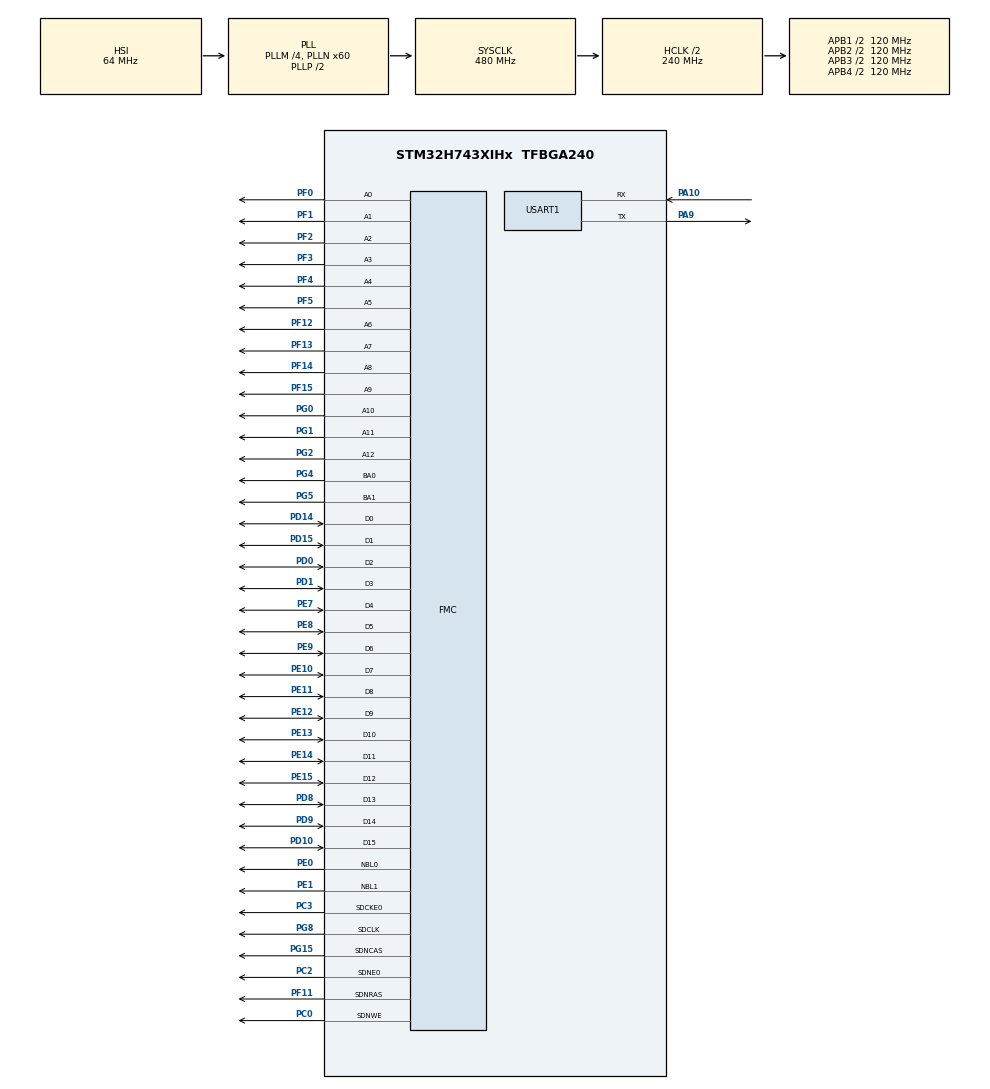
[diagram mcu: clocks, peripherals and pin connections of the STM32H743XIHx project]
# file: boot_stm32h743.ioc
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CORTEX_M7.default_mode_Activation=1
FMC.CASLatency1=FMC_SDRAM_CAS_LATENCY_3
FMC.ColumnBitsNumber1=FMC_SDRAM_COLUMN_BITS_NUM_9
FMC.ExitSelfRefreshDelay1=7
FMC.LoadToActiveDelay1=2
FMC.RCDDelay1=2
FMC.RPDelay1=2
FMC.RPDelay2=2
FMC.ReadBurst1=FMC_SDRAM_RBURST_ENABLE
FMC.ReadBurst2=FMC_SDRAM_RBURST_ENABLE
FMC.ReadPipeDelay1=FMC_SDRAM_RPIPE_DELAY_1
FMC.ReadPipeDelay2=FMC_SDRAM_RPIPE_DELAY_1
FMC.RowCycleDelay1=6
FMC.RowCycleDelay2=6
FMC.SDClockPeriod1=FMC_SDRAM_CLOCK_PERIOD_2
FMC.SDClockPeriod2=FMC_SDRAM_CLOCK_PERIOD_2
FMC.SelfRefreshTime1=4
FMC.WriteRecoveryTime1=3
Mcu.Family=STM32H7
Mcu.Name=STM32H743XIHx
Mcu.Package=TFBGA240
NVIC.PriorityGroup=NVIC_PRIORITYGROUP_4
PA10.Mode=Asynchronous
PA10.Signal=USART1_RX
PA9.Mode=Asynchronous
PA9.Signal=USART1_TX
PC0.Signal=FMC_SDNWE
PC2.Mode=SdramChipSelect1_1
PC2.Signal=FMC_SDNE0
PC3.Mode=SdramChipSelect1_1
PC3.Signal=FMC_SDCKE0
PD0.Signal=FMC_D2_DA2
PD1.Signal=FMC_D3_DA3
PD10.Signal=FMC_D15_DA15
PD14.Signal=FMC_D0_DA0
PD15.Signal=FMC_D1_DA1
PD8.Signal=FMC_D13_DA13
PD9.Signal=FMC_D14_DA14
PE0.Signal=FMC_NBL0
PE1.Signal=FMC_NBL1
PE10.Signal=FMC_D7_DA7
PE11.Signal=FMC_D8_DA8
PE12.Signal=FMC_D9_DA9
PE13.Signal=FMC_D10_DA10
PE14.Signal=FMC_D11_DA11
PE15.Signal=FMC_D12_DA12
PE7.Signal=FMC_D4_DA4
PE8.Signal=FMC_D5_DA5
PE9.Signal=FMC_D6_DA6
PF0.Signal=FMC_A0
PF1.Signal=FMC_A1
PF11.Signal=FMC_SDNRAS
PF12.Signal=FMC_A6
PF13.Signal=FMC_A7
PF14.Signal=FMC_A8
PF15.Signal=FMC_A9
PF2.Signal=FMC_A2
PF3.Signal=FMC_A3
PF4.Signal=FMC_A4
PF5.Signal=FMC_A5
PG0.Signal=FMC_A10
PG1.Signal=FMC_A11
PG15.Signal=FMC_SDNCAS
PG2.Signal=FMC_A12
PG4.Signal=FMC_A14_BA0
PG5.Signal=FMC_A15_BA1
PG8.Signal=FMC_SDCLK
ProjectManager.HeapSize=0x200
ProjectManager.StackSize=0x400
ProjectManager.TargetToolchain=Makefile
RCC.ADCFreq_Value=80000000
RCC.APB1Freq_Value=120000000
RCC.APB2Freq_Value=120000000
RCC.APB3Freq_Value=120000000
RCC.APB4Freq_Value=120000000
RCC.CortexFreq_Value=480000000
RCC.D1PPRE=RCC_APB3_DIV2
RCC.D2PPRE1=RCC_APB1_DIV2
RCC.D2PPRE2=RCC_APB2_DIV2
RCC.D3PPRE=RCC_APB4_DIV2
RCC.DIVM1=4
RCC.DIVM2=4
RCC.DIVN1=60
RCC.DIVN2=10
RCC.DIVR2=1
RCC.HCLKFreq_Value=240000000
RCC.HPRE=RCC_HCLK_DIV2
RCC.PLL2FRACN=0
RCC.PLL3FRACN=0
RCC.PLLFRACN=0
RCC.SYSCLKFreq_VALUE=480000000
RCC.SYSCLKSource=RCC_SYSCLKSOURCE_PLLCLK
RCC.USBFreq_Value=480000000
SH.FMC_A0.0=FMC_A0,13b-sda1
SH.FMC_A1.0=FMC_A1,13b-sda1
SH.FMC_A10.0=FMC_A10,13b-sda1
SH.FMC_A11.0=FMC_A11,13b-sda1
SH.FMC_A12.0=FMC_A12,13b-sda1
SH.FMC_A14_BA0.0=FMC_BA0,FourSdramBanks1
SH.FMC_A15_BA1.0=FMC_BA1,FourSdramBanks1
SH.FMC_A2.0=FMC_A2,13b-sda1
SH.FMC_A3.0=FMC_A3,13b-sda1
SH.FMC_A4.0=FMC_A4,13b-sda1
SH.FMC_A5.0=FMC_A5,13b-sda1
SH.FMC_A6.0=FMC_A6,13b-sda1
SH.FMC_A7.0=FMC_A7,13b-sda1
SH.FMC_A8.0=FMC_A8,13b-sda1
SH.FMC_A9.0=FMC_A9,13b-sda1
SH.FMC_D0_DA0.0=FMC_D0,sd-16b-d1
SH.FMC_D10_DA10.0=FMC_D10,sd-16b-d1
SH.FMC_D11_DA11.0=FMC_D11,sd-16b-d1
SH.FMC_D12_DA12.0=FMC_D12,sd-16b-d1
SH.FMC_D13_DA13.0=FMC_D13,sd-16b-d1
SH.FMC_D14_DA14.0=FMC_D14,sd-16b-d1
SH.FMC_D15_DA15.0=FMC_D15,sd-16b-d1
SH.FMC_D1_DA1.0=FMC_D1,sd-16b-d1
SH.FMC_D2_DA2.0=FMC_D2,sd-16b-d1
SH.FMC_D3_DA3.0=FMC_D3,sd-16b-d1
SH.FMC_D4_DA4.0=FMC_D4,sd-16b-d1
SH.FMC_D5_DA5.0=FMC_D5,sd-16b-d1
SH.FMC_D6_DA6.0=FMC_D6,sd-16b-d1
SH.FMC_D7_DA7.0=FMC_D7,sd-16b-d1
SH.FMC_D8_DA8.0=FMC_D8,sd-16b-d1
SH.FMC_D9_DA9.0=FMC_D9,sd-16b-d1
SH.FMC_NBL0.0=FMC_NBL0,Sd2ByteEnable1
SH.FMC_NBL1.0=FMC_NBL1,Sd2ByteEnable1
SH.FMC_SDCLK.0=FMC_SDCLK,13b-sda1
SH.FMC_SDNCAS.0=FMC_SDNCAS,13b-sda1
SH.FMC_SDNRAS.0=FMC_SDNRAS,13b-sda1
SH.FMC_SDNWE.0=FMC_SDNWE,13b-sda1
USART1.VirtualMode-Asynchronous=VM_ASYNC
VP_MEMORYMAP_VS_MEMORYMAP.Mode=CurAppReg
board=custom

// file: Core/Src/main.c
/* USER CODE BEGIN Header */
/**
  ******************************************************************************
  * @file           : main.c
  * @brief          : Main program body
  ******************************************************************************
  * @attention
  *
  * Copyright (c) 2025 STMicroelectronics.
  * All rights reserved.
  *
  * This software is licensed under terms that can be found in the LICENSE file
  * in the root directory of this software component.
  * If no LICENSE file comes with this software, it is provided AS-IS.
  *
  ******************************************************************************
  */
/* USER CODE END Header */
#include "main.h"

UART_HandleTypeDef huart1;

SDRAM_HandleTypeDef hsdram1;

void SystemClock_Config(void);
static void MPU_Config(void);
static void MX_GPIO_Init(void);
static void MX_USART1_UART_Init(void);
static void MX_FMC_Init(void);

/* USER CODE BEGIN 0 */

#include <stdio.h>
#include <stdint.h>
int __io_putchar(int ch){
  HAL_UART_Transmit(&huart1, (uint8_t *)&ch, 1, 0xFFFF);
  return ch;
}
void _send_byte(char byte){
  HAL_UART_Transmit(&huart1, (uint8_t *)&byte, 1, 0xFFFF);
}
void load_kernel();

#define SDRAM_Size 32*1024*1024
FMC_SDRAM_CommandTypeDef command;
void SDRAM_Initialization_Sequence(SDRAM_HandleTypeDef *hsdram, FMC_SDRAM_CommandTypeDef *Command);

static void HAL_FMC_MspInit(void)
{
  GPIO_InitTypeDef GPIO_InitStruct ={0};
  /* Peripheral clock enable */
  __HAL_RCC_FMC_CLK_ENABLE();

  /* GPIO Ports Clock Enable */
  __HAL_RCC_GPIOC_CLK_ENABLE();
  __HAL_RCC_GPIOD_CLK_ENABLE();
  __HAL_RCC_GPIOE_CLK_ENABLE();
  __HAL_RCC_GPIOF_CLK_ENABLE();
  __HAL_RCC_GPIOG_CLK_ENABLE();
  __HAL_RCC_GPIOH_CLK_ENABLE();

  /** FMC GPIO Configuration
  PF0   ------> FMC_A0			PD14   ------> FMC_D0			PC0    ------> FMC_SDNWE
  PF1   ------> FMC_A1        PD15   ------> FMC_D1         PG15   ------> FMC_SDNCAS
  PF2   ------> FMC_A2        PD0    ------> FMC_D2         PF11   ------> FMC_SDNRAS
  PF3   ------> FMC_A3        PD1    ------> FMC_D3         PH3    ------> FMC_SDNE0
  PF4   ------> FMC_A4        PE7    ------> FMC_D4         PG4    ------> FMC_BA0
  PF5   ------> FMC_A5        PE8    ------> FMC_D5         PG5    ------> FMC_BA1
  PF12  ------> FMC_A6       	PE9    ------> FMC_D6         PH2    ------> FMC_SDCKE0
  PF13  ------> FMC_A7       	PE10   ------> FMC_D7         PG8    ------> FMC_SDCLK
  PF14  ------> FMC_A8       	PE11   ------> FMC_D8         PE1    ------> FMC_NBL1
  PF15  ------> FMC_A9       	PE12   ------> FMC_D9         PE0    ------> FMC_NBL0
  PG0   ------> FMC_A10       PE13   ------> FMC_D10
  PG1   ------> FMC_A11       PE14   ------> FMC_D11
  PG2   ------> FMC_A12       PE15   ------> FMC_D12
                              PD8    ------> FMC_D13
                              PD9    ------> FMC_D14
                              PD10   ------> FMC_D15

  */
  GPIO_InitStruct.Pin = GPIO_PIN_0|GPIO_PIN_1|GPIO_PIN_2|GPIO_PIN_3
                          |GPIO_PIN_4|GPIO_PIN_5|GPIO_PIN_11|GPIO_PIN_12
                          |GPIO_PIN_13|GPIO_PIN_14|GPIO_PIN_15;
  GPIO_InitStruct.Mode = GPIO_MODE_AF_PP;
  GPIO_InitStruct.Pull = GPIO_NOPULL;
  GPIO_InitStruct.Speed = GPIO_SPEED_FREQ_VERY_HIGH;
  GPIO_InitStruct.Alternate = GPIO_AF12_FMC;
  HAL_GPIO_Init(GPIOF, &GPIO_InitStruct);

  GPIO_InitStruct.Pin = GPIO_PIN_2|GPIO_PIN_3;
  GPIO_InitStruct.Mode = GPIO_MODE_AF_PP;
  GPIO_InitStruct.Pull = GPIO_NOPULL;
  GPIO_InitStruct.Speed = GPIO_SPEED_FREQ_VERY_HIGH;
  GPIO_InitStruct.Alternate = GPIO_AF12_FMC;
  HAL_GPIO_Init(GPIOH, &GPIO_InitStruct);

  GPIO_InitStruct.Pin = GPIO_PIN_0|GPIO_PIN_1|GPIO_PIN_2|GPIO_PIN_4
                          |GPIO_PIN_5|GPIO_PIN_8|GPIO_PIN_15;
  GPIO_InitStruct.Mode = GPIO_MODE_AF_PP;
  GPIO_InitStruct.Pull = GPIO_NOPULL;
  GPIO_InitStruct.Speed = GPIO_SPEED_FREQ_VERY_HIGH;
  GPIO_InitStruct.Alternate = GPIO_AF12_FMC;
  HAL_GPIO_Init(GPIOG, &GPIO_InitStruct);

  GPIO_InitStruct.Pin = GPIO_PIN_7|GPIO_PIN_8|GPIO_PIN_9|GPIO_PIN_10
                          |GPIO_PIN_11|GPIO_PIN_12|GPIO_PIN_13|GPIO_PIN_14
                          |GPIO_PIN_15|GPIO_PIN_0|GPIO_PIN_1;
  GPIO_InitStruct.Mode = GPIO_MODE_AF_PP;
  GPIO_InitStruct.Pull = GPIO_NOPULL;
  GPIO_InitStruct.Speed = GPIO_SPEED_FREQ_VERY_HIGH;
  GPIO_InitStruct.Alternate = GPIO_AF12_FMC;
  HAL_GPIO_Init(GPIOE, &GPIO_InitStruct);

  GPIO_InitStruct.Pin = GPIO_PIN_8|GPIO_PIN_9|GPIO_PIN_10|GPIO_PIN_14
                          |GPIO_PIN_15|GPIO_PIN_0|GPIO_PIN_1;
  GPIO_InitStruct.Mode = GPIO_MODE_AF_PP;
  GPIO_InitStruct.Pull = GPIO_NOPULL;
  GPIO_InitStruct.Speed = GPIO_SPEED_FREQ_VERY_HIGH;
  GPIO_InitStruct.Alternate = GPIO_AF12_FMC;
  HAL_GPIO_Init(GPIOD, &GPIO_InitStruct);

  GPIO_InitStruct.Pin =  GPIO_PIN_0;
  GPIO_InitStruct.Mode = GPIO_MODE_AF_PP;
  GPIO_InitStruct.Pull = GPIO_NOPULL;
  GPIO_InitStruct.Speed = GPIO_SPEED_FREQ_VERY_HIGH;
  GPIO_InitStruct.Alternate = GPIO_AF12_FMC;
  HAL_GPIO_Init(GPIOC, &GPIO_InitStruct);
}

/* USER CODE END 0 */

int main(void)
{

  /* MPU Configuration--------------------------------------------------------*/
  //MPU_Config();

  /* MCU Configuration--------------------------------------------------------*/

  /* Reset of all peripherals, Initializes the Flash interface and the Systick. */
  HAL_Init();

  /* USER CODE BEGIN Init */
  SCB_EnableICache();
  SCB_EnableDCache();
  /* USER CODE END Init */

  /* Configure the system clock */
  SystemClock_Config();

  /* USER CODE BEGIN SysInit */
  HAL_FMC_MspInit();
  /* USER CODE END SysInit */

  /* Initialize all configured peripherals */
  MX_GPIO_Init();
  MX_USART1_UART_Init();
  MX_FMC_Init();
  /* USER CODE BEGIN 2 */
  load_kernel();
  /* USER CODE END 2 */

  /* Infinite loop */
  while (1)
  {

  }
}

void SystemClock_Config(void)
{
  RCC_OscInitTypeDef RCC_OscInitStruct = {0};
  RCC_ClkInitTypeDef RCC_ClkInitStruct = {0};

  /** Supply configuration update enable
  */
  HAL_PWREx_ConfigSupply(PWR_LDO_SUPPLY);

  /** Configure the main internal regulator output voltage
  */
  __HAL_PWR_VOLTAGESCALING_CONFIG(PWR_REGULATOR_VOLTAGE_SCALE0);

  while(!__HAL_PWR_GET_FLAG(PWR_FLAG_VOSRDY)) {}

  /** Initializes the RCC Oscillators according to the specified parameters
  * in the RCC_OscInitTypeDef structure.
  */
  RCC_OscInitStruct.OscillatorType = RCC_OSCILLATORTYPE_HSI;
  RCC_OscInitStruct.HSIState = RCC_HSI_DIV1;
  RCC_OscInitStruct.HSICalibrationValue = RCC_HSICALIBRATION_DEFAULT;
  RCC_OscInitStruct.PLL.PLLState = RCC_PLL_ON;
  RCC_OscInitStruct.PLL.PLLSource = RCC_PLLSOURCE_HSI;
  RCC_OscInitStruct.PLL.PLLM = 4;
  RCC_OscInitStruct.PLL.PLLN = 60;
  RCC_OscInitStruct.PLL.PLLP = 2;
  RCC_OscInitStruct.PLL.PLLQ = 2;
  RCC_OscInitStruct.PLL.PLLR = 2;
  RCC_OscInitStruct.PLL.PLLRGE = RCC_PLL1VCIRANGE_3;
  RCC_OscInitStruct.PLL.PLLVCOSEL = RCC_PLL1VCOWIDE;
  RCC_OscInitStruct.PLL.PLLFRACN = 0;
  if (HAL_RCC_OscConfig(&RCC_OscInitStruct) != HAL_OK)
  {
    Error_Handler();
  }

  /** Initializes the CPU, AHB and APB buses clocks
  */
  RCC_ClkInitStruct.ClockType = RCC_CLOCKTYPE_HCLK|RCC_CLOCKTYPE_SYSCLK
                              |RCC_CLOCKTYPE_PCLK1|RCC_CLOCKTYPE_PCLK2
                              |RCC_CLOCKTYPE_D3PCLK1|RCC_CLOCKTYPE_D1PCLK1;
  RCC_ClkInitStruct.SYSCLKSource = RCC_SYSCLKSOURCE_PLLCLK;
  RCC_ClkInitStruct.SYSCLKDivider = RCC_SYSCLK_DIV1;
  RCC_ClkInitStruct.AHBCLKDivider = RCC_HCLK_DIV2;
  RCC_ClkInitStruct.APB3CLKDivider = RCC_APB3_DIV2;
  RCC_ClkInitStruct.APB1CLKDivider = RCC_APB1_DIV2;
  RCC_ClkInitStruct.APB2CLKDivider = RCC_APB2_DIV2;
  RCC_ClkInitStruct.APB4CLKDivider = RCC_APB4_DIV2;

  if (HAL_RCC_ClockConfig(&RCC_ClkInitStruct, FLASH_LATENCY_4) != HAL_OK)
  {
    Error_Handler();
  }
}

static void MX_USART1_UART_Init(void)
{

  huart1.Instance = USART1;
  huart1.Init.BaudRate = 115200;
  huart1.Init.WordLength = UART_WORDLENGTH_8B;
  huart1.Init.StopBits = UART_STOPBITS_1;
  huart1.Init.Parity = UART_PARITY_NONE;
  huart1.Init.Mode = UART_MODE_TX_RX;
  huart1.Init.HwFlowCtl = UART_HWCONTROL_NONE;
  huart1.Init.OverSampling = UART_OVERSAMPLING_16;
  huart1.Init.OneBitSampling = UART_ONE_BIT_SAMPLE_DISABLE;
  huart1.Init.ClockPrescaler = UART_PRESCALER_DIV1;
  huart1.AdvancedInit.AdvFeatureInit = UART_ADVFEATURE_NO_INIT;
  if (HAL_UART_Init(&huart1) != HAL_OK)
  {
    Error_Handler();
  }
  if (HAL_UARTEx_SetTxFifoThreshold(&huart1, UART_TXFIFO_THRESHOLD_1_8) != HAL_OK)
  {
    Error_Handler();
  }
  if (HAL_UARTEx_SetRxFifoThreshold(&huart1, UART_RXFIFO_THRESHOLD_1_8) != HAL_OK)
  {
    Error_Handler();
  }
  if (HAL_UARTEx_DisableFifoMode(&huart1) != HAL_OK)
  {
    Error_Handler();
  }

}

/* FMC initialization function */
static void MX_FMC_Init(void)
{

  FMC_SDRAM_TimingTypeDef SdramTiming = {0};

  /** Perform the SDRAM1 memory initialization sequence
  */
  hsdram1.Instance = FMC_SDRAM_DEVICE;
  /* hsdram1.Init */
  hsdram1.Init.SDBank = FMC_SDRAM_BANK1;
  hsdram1.Init.ColumnBitsNumber = FMC_SDRAM_COLUMN_BITS_NUM_9;
  hsdram1.Init.RowBitsNumber = FMC_SDRAM_ROW_BITS_NUM_13;
  hsdram1.Init.MemoryDataWidth = FMC_SDRAM_MEM_BUS_WIDTH_16;
  hsdram1.Init.InternalBankNumber = FMC_SDRAM_INTERN_BANKS_NUM_4;
  hsdram1.Init.CASLatency = FMC_SDRAM_CAS_LATENCY_3;
  hsdram1.Init.WriteProtection = FMC_SDRAM_WRITE_PROTECTION_DISABLE;
  hsdram1.Init.SDClockPeriod = FMC_SDRAM_CLOCK_PERIOD_2;
  hsdram1.Init.ReadBurst = FMC_SDRAM_RBURST_ENABLE;
  hsdram1.Init.ReadPipeDelay = FMC_SDRAM_RPIPE_DELAY_1;
  /* SdramTiming */
  SdramTiming.LoadToActiveDelay = 2;
  SdramTiming.ExitSelfRefreshDelay = 7;
  SdramTiming.SelfRefreshTime = 4;
  SdramTiming.RowCycleDelay = 6;
  SdramTiming.WriteRecoveryTime = 3;
  SdramTiming.RPDelay = 2;
  SdramTiming.RCDDelay = 2;

  if (HAL_SDRAM_Init(&hsdram1, &SdramTiming) != HAL_OK)
  {
    Error_Handler( );
  }

  /* USER CODE BEGIN FMC_Init 2 */
  SDRAM_Initialization_Sequence(&hsdram1,&command);
  /* USER CODE END FMC_Init 2 */
}

static void MX_GPIO_Init(void)
{

  /* GPIO Ports Clock Enable */
  __HAL_RCC_GPIOE_CLK_ENABLE();
  __HAL_RCC_GPIOG_CLK_ENABLE();
  __HAL_RCC_GPIOD_CLK_ENABLE();
  __HAL_RCC_GPIOA_CLK_ENABLE();
  __HAL_RCC_GPIOF_CLK_ENABLE();
  __HAL_RCC_GPIOC_CLK_ENABLE();

}

/* USER CODE BEGIN 4 */
#include "sdram.h"
/**
  * @brief  SDRAM初始化序列
  * @param  hsdram: SDRAM句柄指针
  * @param  Command: FMC命令结构体指针
  * @retval None
  */
void SDRAM_Initialization_Sequence(SDRAM_HandleTypeDef *hsdram, FMC_SDRAM_CommandTypeDef *Command)
{
    volatile uint32_t tmpmrd = 0;

    /* Step 1: 时钟配置使能命令 */
    Command->CommandMode             = FMC_SDRAM_CMD_CLK_ENABLE;    // Enable SDRAM clock
    Command->CommandTarget           = FMC_COMMAND_TARGET_BANK;     // Target bank selection
    Command->AutoRefreshNumber       = 1;
    Command->ModeRegisterDefinition  = 0;

    HAL_SDRAM_SendCommand(hsdram, Command, SDRAM_TIMEOUT);         // Send command
    HAL_Delay(1);                                                  // Wait at least 100us (实际延迟1ms更安全)

    /* Step 2: 预充电所有bank命令 */
    Command->CommandMode             = FMC_SDRAM_CMD_PALL;          // Precharge all banks
    Command->CommandTarget           = FMC_COMMAND_TARGET_BANK;     // Target bank selection
    Command->AutoRefreshNumber       = 1;
    Command->ModeRegisterDefinition  = 0;

    HAL_SDRAM_SendCommand(hsdram, Command, SDRAM_TIMEOUT);         // Send command

    /* Step 3: 自动刷新命令 (建议至少2次，此处设置为8次更可靠) */
    Command->CommandMode             = FMC_SDRAM_CMD_AUTOREFRESH_MODE; // Enable auto-refresh
    Command->CommandTarget           = FMC_COMMAND_TARGET_BANK;        // Target bank selection
    Command->AutoRefreshNumber       = 8;                              // Number of auto-refresh cycles
    Command->ModeRegisterDefinition  = 0;

    HAL_SDRAM_SendCommand(hsdram, Command, SDRAM_TIMEOUT);         // Send command

    /* Step 4: 配置模式寄存器 */
    tmpmrd = (uint32_t)SDRAM_MODEREG_BURST_LENGTH_2          |     // Burst length = 2
             SDRAM_MODEREG_BURST_TYPE_SEQUENTIAL             |     // Sequential burst
             SDRAM_MODEREG_CAS_LATENCY_3                     |     // CAS latency = 3
             SDRAM_MODEREG_OPERATING_MODE_STANDARD           |     // Standard operation
             SDRAM_MODEREG_WRITEBURST_MODE_SINGLE;                // Single write burst

    Command->CommandMode             = FMC_SDRAM_CMD_LOAD_MODE;    // Load mode register
    Command->CommandTarget           = FMC_COMMAND_TARGET_BANK;    // Target bank selection
    Command->AutoRefreshNumber       = 1;
    Command->ModeRegisterDefinition  = tmpmrd;

    HAL_SDRAM_SendCommand(hsdram, Command, SDRAM_TIMEOUT);         // Send command

    /* Step 5: 设置刷新速率 */
    // 对于64ms刷新周期和4096行:
    // 刷新计数 = (刷新周期 * 时钟频率) / 行数 - 20
    // 示例值918对应100MHz时钟
    HAL_SDRAM_ProgramRefreshRate(hsdram, 918);                     // Set refresh rate
}

/* USER CODE END 4 */

 /* MPU Configuration */

void MPU_Config(void)
{
  MPU_Region_InitTypeDef MPU_InitStruct = {0};

  /* Disables the MPU */
  HAL_MPU_Disable();

  /** Initializes and configures the Region and the memory to be protected
  */
  MPU_InitStruct.Enable = MPU_REGION_ENABLE;
  MPU_InitStruct.Number = MPU_REGION_NUMBER0;
  MPU_InitStruct.BaseAddress = 0x0;
  MPU_InitStruct.Size = MPU_REGION_SIZE_4GB;
  MPU_InitStruct.SubRegionDisable = 0x87;
  MPU_InitStruct.TypeExtField = MPU_TEX_LEVEL0;
  MPU_InitStruct.AccessPermission = MPU_REGION_NO_ACCESS;
  MPU_InitStruct.DisableExec = MPU_INSTRUCTION_ACCESS_DISABLE;
  MPU_InitStruct.IsShareable = MPU_ACCESS_SHAREABLE;
  MPU_InitStruct.IsCacheable = MPU_ACCESS_NOT_CACHEABLE;
  MPU_InitStruct.IsBufferable = MPU_ACCESS_NOT_BUFFERABLE;

  HAL_MPU_ConfigRegion(&MPU_InitStruct);
  /* Enables the MPU */
  HAL_MPU_Enable(MPU_PRIVILEGED_DEFAULT);

}

void Error_Handler(void)
{
  __disable_irq();
  while (1)
  {
  }
}
